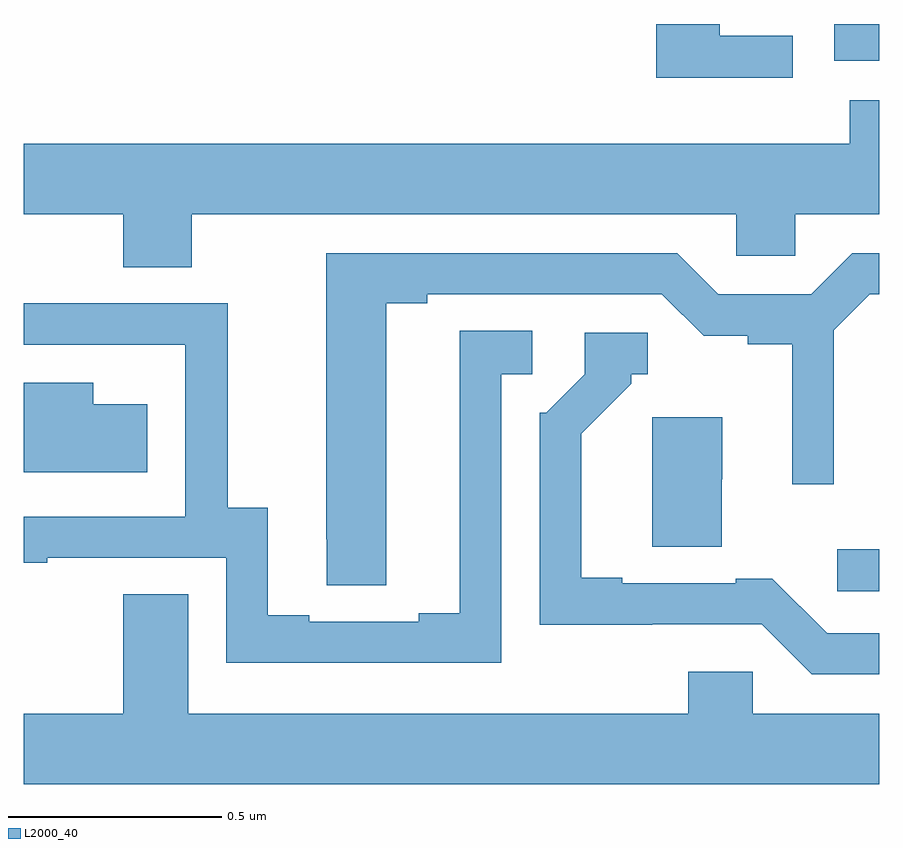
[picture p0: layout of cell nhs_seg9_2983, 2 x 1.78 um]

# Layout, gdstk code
import gdstk
lib = gdstk.Library(unit=1e-6, precision=1e-09)
def R(c, l, rs):  # rectangles x0, y0, x1, y1
    for r in rs: c.add(gdstk.rectangle(r[:2], r[2:], *l))
def P(c, l, *ps):  # polygons
    for p in ps: c.add(gdstk.Polygon(p, *l))
L2000_40 = (2000, 40)

nhs_seg9_2983 = lib.new_cell('nhs_seg9_2983')
R(nhs_seg9_2983, L2000_40, [(148.902,1226.175,149,1226.272), (148.894,1227.414,149,1227.5)])
P(nhs_seg9_2983, L2000_40, [(148.798,1227.473),(148.627,1227.473),(148.627,1227.5),(148.478,1227.5),(148.478,1227.374),(148.798,1227.374)],
  [(147.393,1227.056),(148.665,1227.056),(148.665,1226.958),(148.803,1226.958),(148.803,1227.056),(149,1227.056),(149,1227.322),(148.931,1227.322),(148.931,1227.22),(147,1227.22),(147,1227.056),(147.233,1227.056),(147.233,1226.932),(147.393,1226.932)],
  [(147.847,1226.848),(147.943,1226.848),(147.943,1226.868),(148.491,1226.868),(148.589,1226.771),(148.692,1226.771),(148.692,1226.752),(148.796,1226.752),(148.796,1226.424),(148.893,1226.424),(148.893,1226.784),(148.977,1226.868),(149,1226.868),(149,1226.964),(148.937,1226.964),(148.841,1226.868),(148.623,1226.868),(148.527,1226.964),(147.707,1226.964),(147.707,1226.296),(147.708,1226.296),(147.708,1226.188),(147.847,1226.188)],
  [(148.116,1226.682),(148.189,1226.682),(148.189,1226.783),(148.019,1226.783),(148.019,1226.123),(147.923,1226.123),(147.923,1226.103),(147.667,1226.103),(147.667,1226.118),(147.571,1226.118),(147.571,1226.369),(147.477,1226.369),(147.477,1226.847),(147,1226.847),(147,1226.751),(147.377,1226.751),(147.377,1226.75),(147.378,1226.75),(147.378,1226.349),(147,1226.349),(147,1226.241),(147.055,1226.241),(147.055,1226.253),(147.474,1226.253),(147.474,1226.007),(148.116,1226.007)],
  [(149,1226.076),(148.878,1226.076),(148.75,1226.204),(148.664,1226.204),(148.664,1226.193),(148.399,1226.193),(148.399,1226.206),(148.303,1226.206),(148.303,1226.542),(148.42,1226.659),(148.42,1226.682),(148.459,1226.682),(148.459,1226.778),(148.311,1226.778),(148.311,1226.682),(148.221,1226.592),(148.206,1226.592),(148.206,1226.096),(148.469,1226.096),(148.469,1226.097),(148.725,1226.097),(148.842,1225.98),(149,1225.98)],
  [(147.289,1226.611),(147.163,1226.611),(147.163,1226.662),(147,1226.662),(147,1226.453),(147.289,1226.453)],
  [(148.632,1226.436),(148.633,1226.436),(148.633,1226.581),(148.469,1226.581),(148.469,1226.278),(148.632,1226.278)],
  [(149,1225.888),(148.704,1225.888),(148.704,1225.986),(148.553,1225.986),(148.553,1225.888),(147.385,1225.888),(147.385,1226.168),(147.233,1226.168),(147.233,1225.888),(147,1225.888),(147,1225.724),(149,1225.724)])

lib.write_gds('nhs_seg9_2983.gds')
